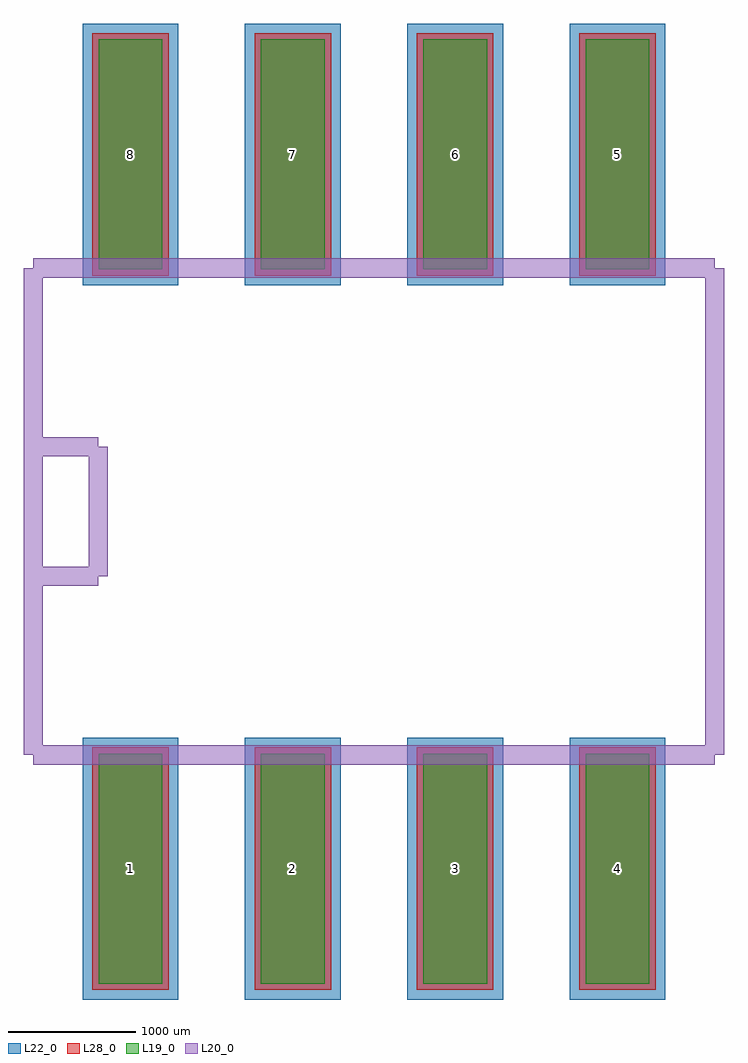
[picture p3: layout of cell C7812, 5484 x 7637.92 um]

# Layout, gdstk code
import gdstk
lib = gdstk.Library(unit=1e-6, precision=1e-09)
def R(c, l, rs):  # rectangles x0, y0, x1, y1
    for r in rs: c.add(gdstk.rectangle(r[:2], r[2:], *l))
def A(c, l, x, y, w, h, nx, ny, dx, dy):  # array of equal rectangles
    R(c, l, [(x+i*dx, y+j*dy, x+i*dx+w, y+j*dy+h) for i in range(nx) for j in range(ny)])
L19_0 = (19, 0)
L20_0 = (20, 0)
L22_0 = (22, 0)
L28_0 = (28, 0)

c7812 = lib.new_cell('C7812')
A(c7812, L19_0, -2154.72, -3693.96, 499.44, 1799.92, 4, 2, 1270, 5588)
A(c7812, L22_0, -2279.72, -3818.96, 749.44, 2049.92, 4, 2, 1270, 5588)
A(c7812, L28_0, -2204.72, -3743.96, 599.44, 1899.92, 4, 2, 1270, 5588)
c7812.add(gdstk.FlexPath([(2667,1905),(2667,-1905)], 149.998, ends="flush", simple_path=True, layer=20, datatype=0))  # L20_0
c7812.add(gdstk.FlexPath([(-2159,-508),(-2667,-508)], 149.998, ends="flush", simple_path=True, layer=20, datatype=0))  # L20_0
c7812.add(gdstk.FlexPath([(-2159,508),(-2159,-508)], 149.998, ends="flush", simple_path=True, layer=20, datatype=0))  # L20_0
c7812.add(gdstk.FlexPath([(-2667,508),(-2159,508)], 149.998, ends="flush", simple_path=True, layer=20, datatype=0))  # L20_0
c7812.add(gdstk.FlexPath([(-2667,1905),(-2667,-1778)], 149.998, ends="flush", simple_path=True, layer=20, datatype=0))  # L20_0
c7812.add(gdstk.FlexPath([(2667,1905),(-2667,1905)], 149.998, ends="flush", simple_path=True, layer=20, datatype=0))  # L20_0
c7812.add(gdstk.FlexPath([(-2667,-1905),(2667,-1905)], 149.998, ends="flush", simple_path=True, layer=20, datatype=0))  # L20_0
c7812.add(gdstk.FlexPath([(-2667,-1778),(-2667,-1905)], 149.998, ends="flush", simple_path=True, layer=20, datatype=0))  # L20_0
c7812.add(gdstk.Label('4', (1905,-2794), layer=28, texttype=0))
c7812.add(gdstk.Label('3', (635,-2794), layer=28, texttype=0))
c7812.add(gdstk.Label('2', (-635,-2794), layer=28, texttype=0))
c7812.add(gdstk.Label('5', (1905,2794), layer=28, texttype=0))
c7812.add(gdstk.Label('6', (635,2794), layer=28, texttype=0))
c7812.add(gdstk.Label('7', (-635,2794), layer=28, texttype=0))
c7812.add(gdstk.Label('1', (-1905,-2794), layer=28, texttype=0))
c7812.add(gdstk.Label('8', (-1905,2794), layer=28, texttype=0))
c7812.add(gdstk.Label('type', (-3810,0), layer=9, texttype=0))
c7812.add(gdstk.Label('devicename', (3556,0), layer=9, texttype=0))

lib.write_gds('C7812.gds')
